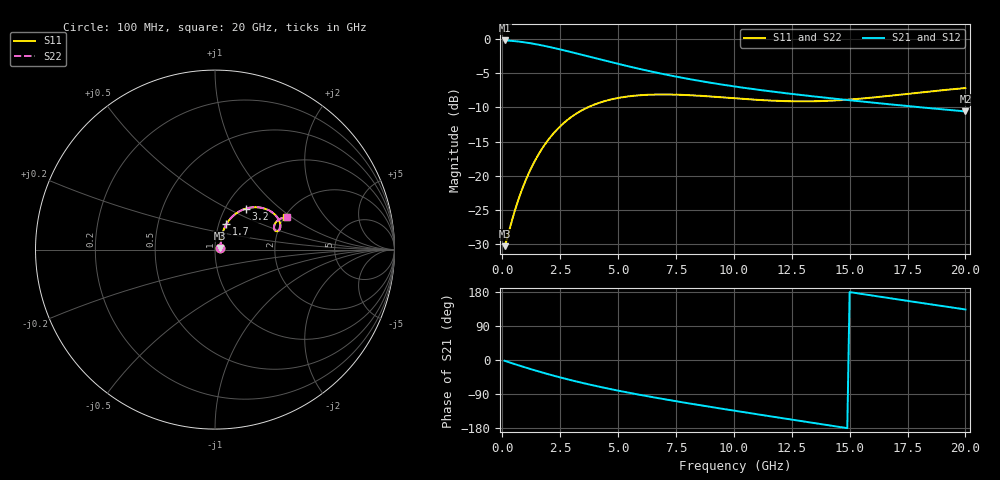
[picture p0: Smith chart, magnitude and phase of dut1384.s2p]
! Touchstone file exported from HFSS 2024.1.0
!  File:  C:/UserFiles/LocalFiles/RDL_TSV_Batchsim/temp_RDL_TSV_1384_1780402162.aedt
!  Generated:  08:23:27 PM Jun  2, 2026
!  Design:  RDL_TSV
!  Project:  temp_RDL_TSV_1384_1780402162
!  Setup:  Setup1
!  Solution:  Sweep
! Variables:
!  dtsv = 12.69um
!  hbump = 3um
!  htsv = 51.99um
!  ldown = 380.01um
!  lrdl = 580.41um
!  p = 40
!  p1 = 55.37um
!  rhole = 10um
!  subl = 3461.67um
!  t = 450um
!  tdown = 2.47um
!  trdl = 3.01um
!  viad = 10um
!  wdown = 13.65um
!  wrdl = 14.99um
!  xbump = 18um
# GHz S MA R 50.000000
! Terminal data exported
! Port[1] = TM1_1_T1
! Port[2] = TM1_4_T1
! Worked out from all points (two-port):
!   200 points, 100 MHz to 20 GHz, reference 50 ohm
!   highest |S21| = -0.26 dB at 100 MHz (marker M1); lowest = -10.6 dB at 20 GHz (marker M2)
!   |S21| within 3 dB of the highest: start of sweep to 4.509 GHz
!   lowest |S11| = -30.2 dB at 100 MHz (marker M3), VSWR 1.06, Z = 53 + j0.917 ohm
!   |S11| at or under -10 dB: start of sweep to 3.699 GHz
!   |S22| runs from -30.2 to -7.2 dB; largest |S21 - S12| = 2.7e-14
!   S11 on the Smith chart (normalised r, x): 100 MHz: 1.06, +0.02; 1.7 GHz: 1.09, +0.32; 3.2 GHz: 1.24, +0.62; 20 GHz: 2.05, +0.91
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0.1  0.03075 16.3  0.9702 -2.1  0.9702 -2.1  0.03075 16.3
! Gamma 0 0 0 0
! Port Impedance 50 0 50 0
0.6  0.05998 55.6  0.9571 -12.1  0.9571 -12.1  0.05998 55.6
0.9  0.08353 62.8  0.9436 -17.9  0.9436 -17.9  0.08353 62.9
1.3  0.1187 66.2  0.9209 -25.4  0.9209 -25.4  0.1187 66.3
1.7  0.1562 65.9  0.8942 -32.6  0.8942 -32.6  0.1562 65.9
2  0.1845 64.2  0.8726 -37.7  0.8726 -37.7  0.1846 64.2
2.4  0.221 61.0  0.8425 -44.3  0.8425 -44.3  0.2211 61.0
2.8  0.2547 57.2  0.8117 -50.7  0.8117 -50.7  0.2549 57.2
3.2  0.2847 53.2  0.7811 -56.7  0.7811 -56.7  0.2849 53.2
3.5  0.3044 50.1  0.7585 -61.0  0.7585 -61.0  0.3047 50.2
4.2  0.3414 43.4  0.7079 -70.7  0.7079 -70.7  0.3417 43.4
5.1  0.3721 35.8  0.6491 -82.1  0.6491 -82.1  0.3724 35.8
5.9  0.3865 30.1  0.6033 -91.5  0.6033 -91.5  0.3868 30.2
6.8  0.392 25.0  0.5589 -101.4  0.5589 -101.4  0.3924 25.1
8.4  0.3847 19.0  0.4961 -117.9  0.4961 -117.9  0.3852 19.0
10.1  0.3671 16.4  0.4466 -134.5  0.4466 -134.5  0.3677 16.5
11.7  0.3532 17.1  0.4108 -149.8  0.4108 -149.8  0.3537 17.1
13.4  0.3497 19.9  0.3802 -165.8  0.3802 -165.8  0.3502 19.9
15  0.3601 22.8  0.3557 179.2  0.3557 179.2  0.3606 22.8
16.7  0.3828 24.9  0.3327 163.4  0.3327 163.4  0.3832 24.9
18.4  0.411 25.2  0.3122 147.8  0.3122 147.8  0.4113 25.2
20  0.4365 24.2  0.2949 133.4  0.2949 133.4  0.4368 24.2
